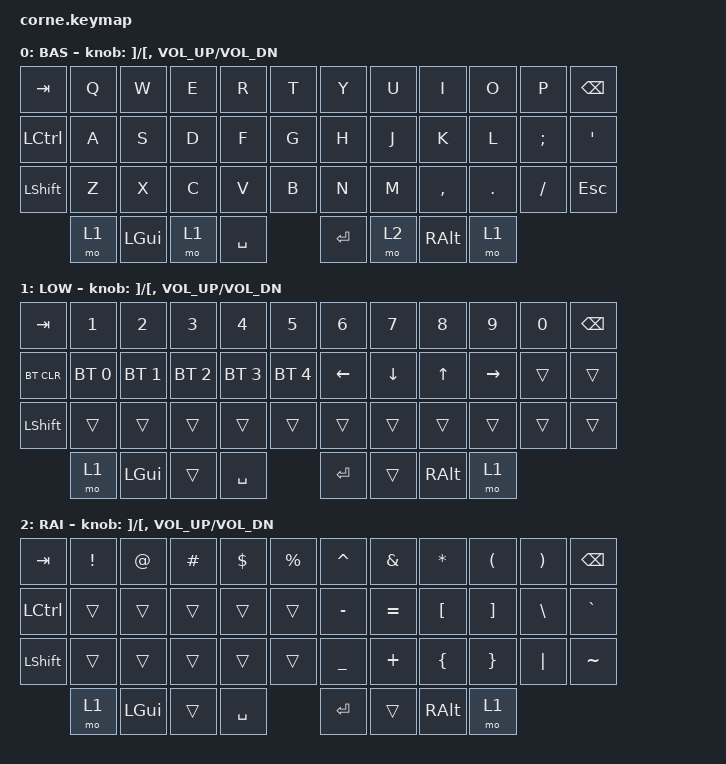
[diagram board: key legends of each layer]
/*
 * Copyright (c) 2020 The ZMK Contributors
 *
 * SPDX-License-Identifier: MIT
 */

#include <behaviors.dtsi>
#include <dt-bindings/zmk/keys.h>
#include <dt-bindings/zmk/bt.h>

/ {
        keymap {
                compatible = "zmk,keymap";

                default_layer {
					display-name = "BAS";
// -----------------------------------------------------------------------------------------
// |  TAB |  Q  |  W  |  E  |  R  |  T  |   |  Y  |  U   |  I  |  O  |  P  | BSPC |
// | CTRL |  A  |  S  |  D  |  F  |  G  |   |  H  |  J   |  K  |  L  |  ;  |  '   |
// | SHFT |  Z  |  X  |  C  |  V  |  B  |   |  N  |  M   |  ,  |  .  |  /  | ESC  |
//                    | GUI | LWR | SPC |   | ENT | RSE  | ALT |
                        bindings = <
   &kp TAB   &kp Q &kp W &kp E &kp R &kp T   &kp Y &kp U  &kp I     &kp O   &kp P    &kp BSPC
   &kp LCTRL &kp A &kp S &kp D &kp F &kp G   &kp H &kp J  &kp K     &kp L   &kp SEMI &kp SQT
   &kp LSHFT &kp Z &kp X &kp C &kp V &kp B   &kp N &kp M  &kp COMMA &kp DOT &kp FSLH &kp ESC
             &mo 1 &kp LGUI &mo 1 &kp SPACE   &kp RET &mo 2 &kp RALT &mo 1
                        >;
			            sensor-bindings =
			                <&inc_dec_kp RIGHT_BRACKET LEFT_BRACKET &inc_dec_kp C_VOL_UP C_VOL_DN>;
                };
                lower_layer {
					display-name = "LOW";
// -----------------------------------------------------------------------------------------
// |  TAB |  1  |  2  |  3  |  4  |  5  |   |  6  |  7  |  8  |  9  |  0  | BSPC |
// | BTCLR| BT1 | BT2 | BT3 | BT4 | BT5 |   | LFT | DWN |  UP | RGT |     |      |
// | SHFT |     |     |     |     |     |   |     |     |     |     |     |      |
//                    | GUI |     | SPC |   | ENT |     | ALT |
                        bindings = <
   &kp TAB    &kp N1       &kp N2       &kp N3       &kp N4       &kp N5         &kp N6   &kp N7   &kp N8 &kp N9    &kp N0 &kp BSPC
   &bt BT_CLR &bt BT_SEL 0 &bt BT_SEL 1 &bt BT_SEL 2 &bt BT_SEL 3 &bt BT_SEL 4   &kp LEFT &kp DOWN &kp UP &kp RIGHT &trans &trans
   &kp LSHFT  &trans       &trans       &trans       &trans       &trans         &trans   &trans   &trans &trans    &trans &trans
                            &mo 1 &kp LGUI     &trans       &kp SPACE      &kp RET  &trans   &kp RALT &mo 1
                        >;
			            sensor-bindings =
			                <&inc_dec_kp RIGHT_BRACKET LEFT_BRACKET &inc_dec_kp C_VOL_UP C_VOL_DN>;
                };

                raise_layer {
					display-name = "RAI";
// -----------------------------------------------------------------------------------------
// |  TAB |  !  |  @  |  #  |  $  |  %  |   |  ^  |  &  |  *  |  (  |  )  | BSPC |
// | CTRL |     |     |     |     |     |   |  -  |  =  |  [  |  ]  |  \  |  `   |
// | SHFT |     |     |     |     |     |   |  _  |  +  |  {  |  }  | "|" |  ~   |
//                    | GUI |     | SPC |   | ENT |     | ALT |
                        bindings = <
   &kp  TAB  &kp EXCL &kp AT &kp HASH &kp DLLR &kp PRCNT   &kp CARET &kp AMPS  &kp ASTRK &kp LPAR &kp RPAR &kp BSPC
   &kp LCTRL &trans   &trans &trans   &trans   &trans      &kp MINUS &kp EQUAL &kp LBKT  &kp RBKT &kp BSLH &kp GRAVE
   &kp LSHFT &trans   &trans &trans   &trans   &trans      &kp UNDER &kp PLUS  &kp LBRC  &kp RBRC &kp PIPE &kp TILDE
                 &mo 1 &kp LGUI &trans   &kp SPACE   &kp RET   &trans    &kp RALT &mo 1
                        >;
			            sensor-bindings =
			                <&inc_dec_kp RIGHT_BRACKET LEFT_BRACKET &inc_dec_kp C_VOL_UP C_VOL_DN>;
                };
        };
};
